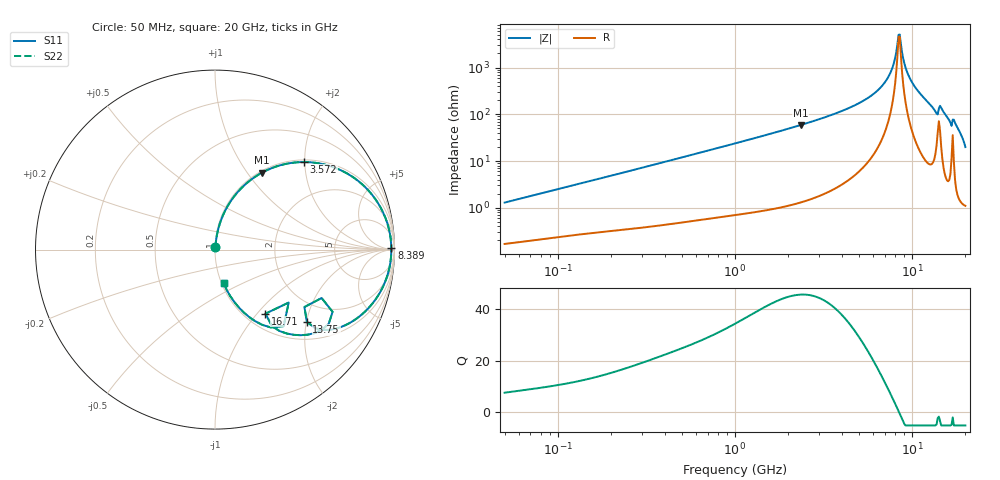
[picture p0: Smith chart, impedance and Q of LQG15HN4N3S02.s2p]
!Murata Part Number: LQG15HN4N3S02
!These Parameters are Measured in Series Mode Connection
!  o--[Z]--o
!Port1  Port2
!  o-------o
!Freq. Start=50[MHz] Stop=20[GHz], 401[Steps]
# Hz S RI R 50
!Freq.(Hz) S11(Real) S11(Imag) S21(Real) S21(Imag) S12(Real) S12(Imag) S22(Real) S22(Imag)
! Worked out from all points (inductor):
!   401 points, 50 MHz to 20 GHz, reference 50 ohm
!   read as one part in series: L = 4.03 nH near 51.52 MHz
!   highest Q = 45.4 at 2.349 GHz (marker M1), where L = 3.98 nH
!   self-resonance near 8.389 GHz
!   S11 on the Smith chart (normalised r, x): 50 MHz: 1.00, +0.03; 3.572 GHz: 1.05, +1.98; 8.389 GHz: open; 13.75 GHz: 1.44, -2.01; 16.71 GHz: 1.23, -1.11; 20 GHz: 1.02, -0.40
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5e7  0.00184 0.0127  0.9982 -0.0127  0.9982 -0.0127  0.00184 0.0127
1.364002e8  0.00382 0.0332  0.9962 -0.0332  0.9962 -0.0332  0.00382 0.0332
3.721004e8  0.0119 0.0875  0.9881 -0.0875  0.9881 -0.0875  0.0119 0.0875
1e9  0.0593 0.2219  0.9407 -0.2219  0.9407 -0.2219  0.0593 0.2219
2.348516e9  0.2615 0.4286  0.7385 -0.4286  0.7385 -0.4286  0.2615 0.4286
2.728004e9  0.333 0.4603  0.667 -0.4603  0.667 -0.4603  0.333 0.4603
3.572216e9  0.4961 0.4879  0.5039 -0.4879  0.5039 -0.4879  0.4961 0.4879
5.769027e9  0.8387 0.3461  0.1613 -0.3461  0.1613 -0.3461  0.8387 0.3461
6.701223e9  0.9234 0.2332  0.0766 -0.2332  0.0766 -0.2332  0.9234 0.2332
7.442007e9  0.9635 0.1354  0.0365 -0.1354  0.0365 -0.1354  0.9635 0.1354
7.901521e9  0.977 0.0737  0.023 -0.0737  0.023 -0.0737  0.977 0.0737
8.389408e9  0.9825 0.00866  0.0175 -0.00866  0.0175 -0.00866  0.9825 0.00866
8.644534e9  0.9819 -0.0248  0.0181 0.0248  0.0181 0.0248  0.9819 -0.0248
9.316812e9  0.9696 -0.1104  0.0304 0.1104  0.0304 0.1104  0.9696 -0.1104
1.004137e10  0.9405 -0.1966  0.0595 0.1966  0.0595 0.1966  0.9405 -0.1966
1.276073e10  0.6972 -0.4331  0.3028 0.4331  0.3028 0.4331  0.6972 -0.4331
1.375312e10  0.5118 -0.4028  0.4882 0.4028  0.4882 0.4028  0.5118 -0.4028
1.460232e10  0.6336 -0.4135  0.3664 0.4135  0.3664 0.4135  0.6336 -0.4135
1.550395e10  0.4774 -0.4769  0.5226 0.4769  0.5226 0.4769  0.4774 -0.4769
1.670968e10  0.2812 -0.3569  0.7188 0.3569  0.7188 0.3569  0.2812 -0.3569
1.774144e10  0.2623 -0.4189  0.7377 0.4189  0.7377 0.4189  0.2623 -0.4189
2e10  0.0475 -0.1868  0.9525 0.1868  0.9525 0.1868  0.0475 -0.1868
